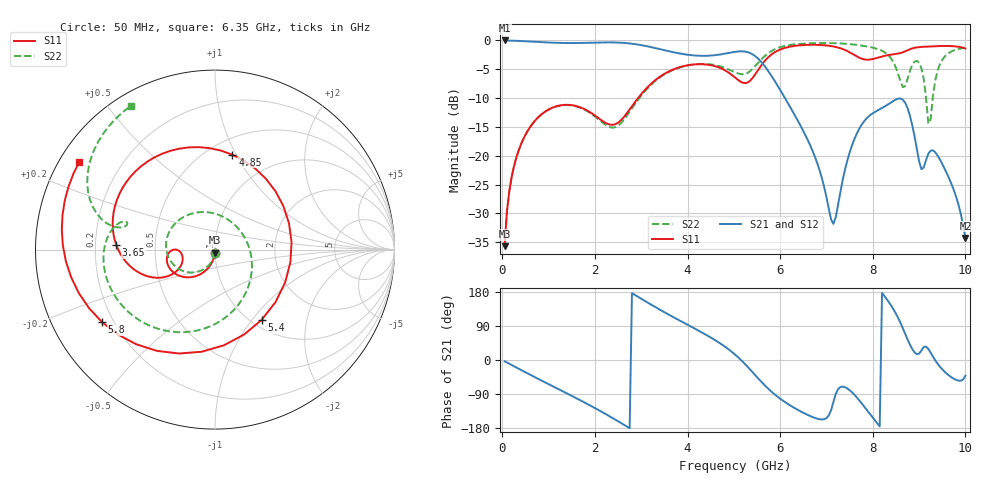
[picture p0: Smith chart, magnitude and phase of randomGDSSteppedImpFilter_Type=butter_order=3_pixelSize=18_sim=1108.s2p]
! freq	dB(S11)	phase(S11)	dB(S12)	phase(S12)
!  dB(S21)	phase(S21)	dB(S22)	phase(S22)
!S-par simulation data
#  GHz  S  DB  R 50
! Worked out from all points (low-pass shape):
!   200 points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, 50 MHz to 10 GHz, reference 50 ohm
!   highest |S21| = -0.01 dB at 50 MHz (marker M1); lowest = -34.3 dB at 10 GHz (marker M2)
!   |S21| within 3 dB of the highest: start of sweep to 5.504 GHz
!   lowest |S11| = -35.7 dB at 50 MHz (marker M3), VSWR 1.03, Z = 49.9 - j1.64 ohm
!   |S11| at or under -10 dB: start of sweep to 2.933 GHz
!   |S22| runs from -35.7 to -0.5 dB; largest |S21 - S12| = 0
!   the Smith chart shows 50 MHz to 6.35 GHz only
!   S11 on the Smith chart (normalised r, x): 50 MHz: 1.00, -0.03; 3.65 GHz: 0.29, +0.02; 4.85 GHz: 0.65, +0.97; 5.4 GHz: 1.11, -1.12; 5.8 GHz: 0.16, -0.29; 6.35 GHz: 0.06, +0.30
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0.05  -35.69 -92.5  -0.01 -3.3  -0.01 -3.3  -35.70 -93.3
0.55  -15.66 -121.9  -0.17 -35.6  -0.17 -35.6  -15.67 -130.3
1.75  -11.83 -176.4  -0.43 -110.4  -0.43 -110.4  -11.91 135.3
2.6  -13.53 -154.6  -0.42 -168.9  -0.42 -168.9  -14.02 -5.2
3.4  -6.31 -169.2  -1.51 133.0  -1.51 133.0  -6.43 -106.6
3.65  -5.18 177.3  -1.97 116.0  -1.97 116.0  -5.26 -126.5
4.85  -5.39 79.6  -2.23 31.5  -2.23 31.5  -4.91 166.2
5.05  -6.59 43.9  -1.95 11.8  -1.95 11.8  -5.61 162.6
5.4  -6.56 -56.4  -2.39 -31.6  -2.39 -31.6  -4.98 167.2
5.8  -2.53 -147.2  -6.00 -82.2  -6.00 -82.2  -1.91 152.4
6.35  -0.91 147.0  -13.47 -129.5  -13.47 -129.5  -0.64 120.2
6.7  -0.76 114.7  -19.17 -150.5  -19.17 -150.5  -0.48 101.5
7.15  -1.05 66.3  -31.83 -110.8  -31.83 -110.8  -0.48 77.5
7.5  -2.05 6.7  -19.47 -79.6  -19.47 -79.6  -0.64 57.5
7.85  -3.34 -85.8  -13.67 -128.4  -13.67 -128.4  -1.01 34.7
8.35  -2.52 172.6  -11.00 152.2  -11.00 152.2  -2.69 -21.1
8.7  -1.90 139.3  -10.83 69.1  -10.83 69.1  -7.92 178.2
8.85  -1.40 127.1  -14.61 29.6  -14.61 29.6  -4.30 88.4
9  -1.16 115.0  -20.95 16.6  -20.95 16.6  -3.86 28.2
9.15  -1.09 104.5  -20.76 35.4  -20.76 35.4  -9.93 -47.0
9.3  -1.02 94.9  -19.08 8.9  -19.08 8.9  -9.57 143.4
10  -1.42 49.8  -34.25 -41.5  -34.25 -41.5  -1.26 31.5
